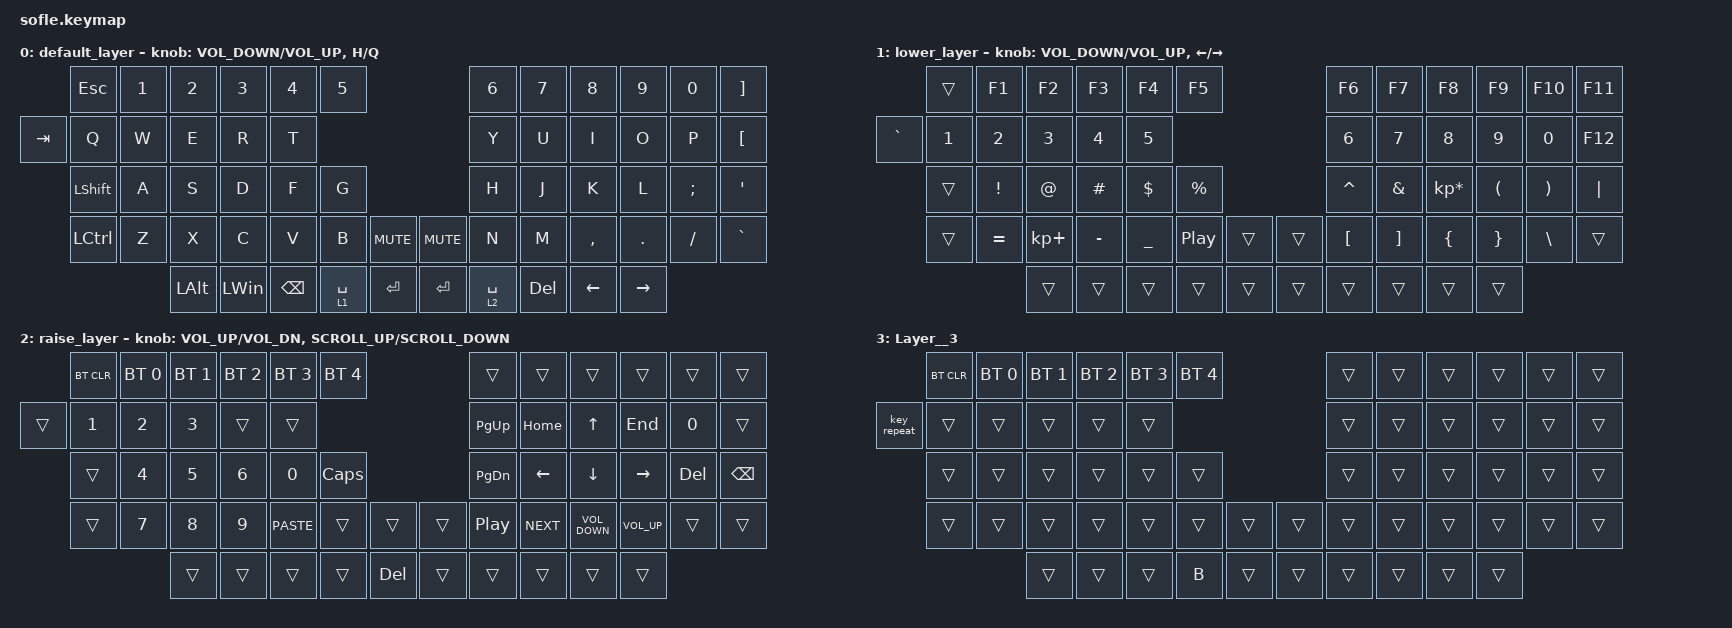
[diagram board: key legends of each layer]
/*
 * Copyright (c) 2020 The ZMK Contributors
 *
 * SPDX-License-Identifier: MIT
 */

#include <behaviors.dtsi>
#include <dt-bindings/zmk/bt.h>
#include <dt-bindings/zmk/keys.h>

/ {
    combos {
        compatible = "zmk,combos";

        new_combo {
            bindings = <&trans>;
            key-positions = <>;
        };
    };

    keymap {
        compatible = "zmk,keymap";

        default_layer {
            // ------------------------------------------------------------------------------------------------------------
            // |  `    |  1  |  2  |  3   |  4   |  5   |                   |  6   |  7    |  8    |  9   |   0   |       |
            // |  ESC  |  Q  |  W  |  E   |  R   |  T   |                   |  Y   |  U    |  I    |  O   |   P   | BKSPC |
            // |  TAB  |  A  |  S  |  D   |  F   |  G   |                   |  H   |  J    |  K    |  L   |   ;   |   '   |
            // | SHIFT |  Z  |  X  |  C   |  V   |  B   |  MUTE  |  |       |  N   |  M    |  ,    |  .   |   /   | SHIFT |
            //               | GUI | ALT  | CTRL | LOWER|  ENTER |  | SPACE | RAISE| CTRL  | ALT   | GUI  |

            bindings = <
       &kp ESC  &kp N1    &kp N2    &kp N3         &kp N4       &kp N5                               &kp N6      &kp N7          &kp N8           &kp N9    &kp N0  &kp RIGHT_BRACKET
       &kp TAB   &kp Q     &kp W     &kp E          &kp R        &kp T                                &kp Y       &kp U           &kp I            &kp O     &kp P   &kp LEFT_BRACKET
&kp LEFT_SHIFT   &kp A     &kp S     &kp D          &kp F        &kp G                                &kp H       &kp J           &kp K            &kp L  &kp SEMI            &kp SQT
     &kp LCTRL   &kp Z     &kp X     &kp C          &kp V        &kp B  &kp C_MUTE  &kp C_MUTE        &kp N       &kp M       &kp COMMA          &kp DOT  &kp FSLH          &kp GRAVE
                        &kp LALT  &kp LWIN  &kp BACKSPACE  &lt 1 SPACE   &kp ENTER   &kp ENTER  &lt 2 SPACE  &kp DELETE  &kp LEFT_ARROW  &kp RIGHT_ARROW
            >;

            sensor-bindings =
                <&inc_dec_kp C_VOLUME_DOWN C_VOLUME_UP>,
                <&inc_dec_kp H Q>;
        };

        lower_layer {
            // TODO: Some binds are waiting for shifted keycode support.
            // ------------------------------------------------------------------------------------------------------------
            // |       |  F1 |  F2 |  F3  |  F4  |  F5  |                   |  F6  |  F7   |  F8   |  F9  |  F10  |  F11  |
            // | `     |   1 |   2 |   3  |   4  |   5  |                   |   6  |   7   |   8   |   9  |    0  |  F12  |
            // |       |  !  |  @  |  #   |  $   |  %   |                   |  ^   |  &    |  *    |  (   |   )   |   |   |
            // |       |  =  |  -  |  +   |  {   |  }   |        |  |       |  [   |  ]    |  ;    |  :   |   \   |       |
            //               |     |      |      |      |        |  |       |      |       |       |      |

            bindings = <
   &trans     &kp F1       &kp F2     &kp F3     &kp F4            &kp F5                     &kp F6    &kp F7           &kp F8           &kp F9   &kp F10   &kp F11
&kp GRAVE     &kp N1       &kp N2     &kp N3     &kp N4            &kp N5                     &kp N6    &kp N7           &kp N8     &kp NUMBER_9    &kp N0   &kp F12
   &trans   &kp EXCL       &kp AT   &kp HASH   &kp DLLR         &kp PRCNT                  &kp CARET  &kp AMPS  &kp KP_MULTIPLY         &kp LPAR  &kp RPAR  &kp PIPE
   &trans  &kp EQUAL  &kp KP_PLUS  &kp MINUS  &kp UNDER  &kp C_PLAY_PAUSE  &trans  &trans   &kp LBKT  &kp RBKT   &kp LEFT_BRACE  &kp RIGHT_BRACE  &kp BSLH    &trans
                           &trans     &trans     &trans            &trans  &trans  &trans     &trans    &trans           &trans           &trans
            >;

            sensor-bindings =
                <&inc_dec_kp C_VOLUME_DOWN C_VOLUME_UP>,
                <&inc_dec_kp LEFT_ARROW RIGHT_ARROW>;
        };

        raise_layer {
            // ------------------------------------------------------------------------------------------------------------
            // |BTCLR| BT1  | BT2  |  BT3  |  BT4  |  BT5 |                |      |      |       |      |       |       |
            // |     | INS  | PSCR | GUI   |       |      |                | PGUP |      |       |      |       |       |
            // |     | ALT  | CTRL | SHIFT |       | CAPS |                |  <-  |   ^  |   v   |  ->  |  DEL  | BKSPC |
            // |     | UNDO | CUT  | COPY  | PASTE |      |      |  |      |      |      |       |      |       |       |
            //              |      |       |       |      |      |  |      |      |      |       |      |

            bindings = <
&bt BT_CLR  &bt BT_SEL 0  &bt BT_SEL 1  &bt BT_SEL 2  &bt BT_SEL 3  &bt BT_SEL 4                             &trans      &trans             &trans           &trans   &trans    &trans
    &trans  &kp NUMBER_1  &kp NUMBER_2  &kp NUMBER_3        &trans        &trans                          &kp PG_UP    &kp HOME             &kp UP          &kp END   &kp N0    &trans
    &trans  &kp NUMBER_4  &kp NUMBER_5  &kp NUMBER_6  &kp NUMBER_0      &kp CLCK                          &kp PG_DN    &kp LEFT           &kp DOWN        &kp RIGHT  &kp DEL  &kp BSPC
    &trans  &kp NUMBER_7  &kp NUMBER_8  &kp NUMBER_9   &kp K_PASTE        &trans   &trans  &trans  &kp C_PLAY_PAUSE  &kp C_NEXT  &kp C_VOLUME_DOWN  &kp C_VOLUME_UP   &trans    &trans
                                &trans        &trans        &trans        &trans  &kp DEL  &trans            &trans      &trans             &trans           &trans
            >;

            sensor-bindings = <&inc_dec_kp C_VOL_UP C_VOL_DN &inc_dec_kp K_SCROLL_UP K_SCROLL_DOWN>;
        };

        Layer__3 {
            bindings = <
 &bt BT_CLR  &bt BT_SEL 0  &bt BT_SEL 1  &bt BT_SEL 2  &bt BT_SEL 3  &bt BT_SEL 4                  &trans  &trans  &trans  &trans  &trans  &trans
&key_repeat        &trans        &trans        &trans        &trans        &trans                  &trans  &trans  &trans  &trans  &trans  &trans
     &trans        &trans        &trans        &trans        &trans        &trans                  &trans  &trans  &trans  &trans  &trans  &trans
     &trans        &trans        &trans        &trans        &trans        &trans  &trans  &trans  &trans  &trans  &trans  &trans  &trans  &trans
                                 &trans        &trans        &trans         &kp B  &trans  &trans  &trans  &trans  &trans  &trans
            >;
        };
    };
};
